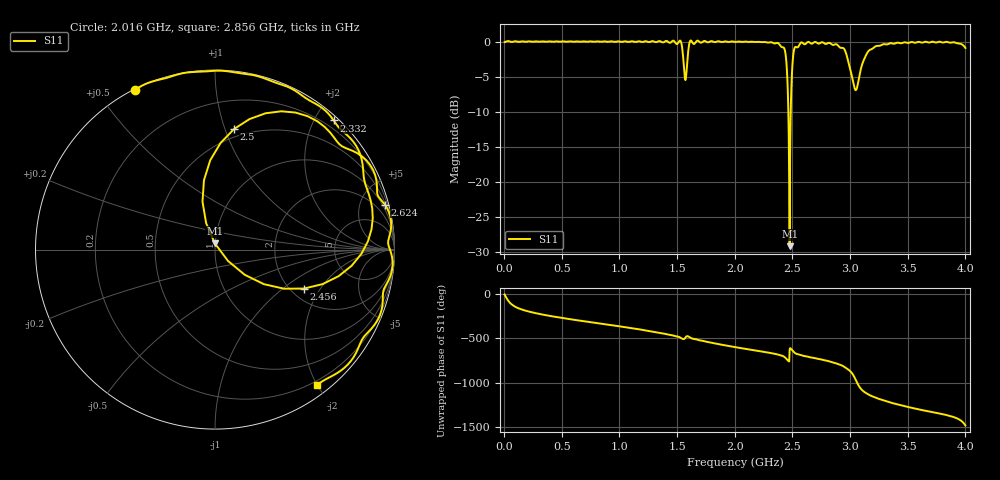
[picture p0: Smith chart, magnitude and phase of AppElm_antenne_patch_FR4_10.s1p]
! TOUCHSTONE file generated by CST MICROWAVE STUDIO
! Date and time: Tue Jun 14 13:15:18 2022
! Project name: AppElm_antenne_patch_FR4.cst
! Parameters = {L=45; W=58.5; e=0.035; h=1.6; lambda=0.190476; ls=120; w0=2.54; w1=0.847; ws=120; y0=21.6; y1=23.8}
! Header version: 2018
! Port assignment regex: !\s*Touchstone port\s*([0-9]+)\s*=\s*(CST MWS port|CST DS port)\s*([0-9]+|Zmin|Zmax)\s*\(\"(.*)\"\)(\s*mode\s*([0-9]+))?.*
! Touchstone port assignment:
! Touchstone port 1 = CST MWS port 1 ("")
# GHz S MA R 50
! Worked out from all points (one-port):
!   1000 points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, 4 MHz to 4 GHz, reference 50 ohm
!   lowest |S11| = -29.2 dB at 2.476 GHz (marker M1), VSWR 1.07, Z = 49.8 + j3.45 ohm
!   |S11| at or under -10 dB: 2.464 GHz to 2.486 GHz (21.06 MHz wide, 0.851 % of centre)
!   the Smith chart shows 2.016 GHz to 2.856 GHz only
!   S11 on the Smith chart (normalised r, x): 2.016 GHz: 0.00, +0.62; 2.332 GHz: 0.07, +2.28; 2.456 GHz: 2.35, -1.44; 2.5 GHz: 0.43, +1.08; 2.624 GHz: 0.64, +7.63; 2.856 GHz: 0.14, -1.99
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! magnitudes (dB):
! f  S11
! 4 MHz  -0.1
! 504 MHz  0.0
! 1.004 GHz  0.0
! 1.504 GHz  -0.3
! 1.532 GHz  0.0
! 1.572 GHz  -5.5
! 1.624 GHz  0.1
! 2.004 GHz  -0.1
! 2.016 GHz  0.0
! 2.332 GHz  -0.2
! 2.428 GHz  -1.0
! 2.444 GHz  -2.3
! 2.456 GHz  -5.3
! 2.464 GHz  -9.5
! 2.476 GHz  -29.2
! 2.492 GHz  -6.0
! 2.5 GHz  -3.3
! 2.504 GHz  -2.5
! 2.528 GHz  -0.8
! 2.624 GHz  -0.2
! 2.856 GHz  -0.5
! 2.948 GHz  -1.0
! 3.004 GHz  -4.1
! 3.052 GHz  -6.9
! 3.116 GHz  -2.8
! 3.168 GHz  -1.2
! 3.504 GHz  -0.2
! 4 GHz  -0.9
